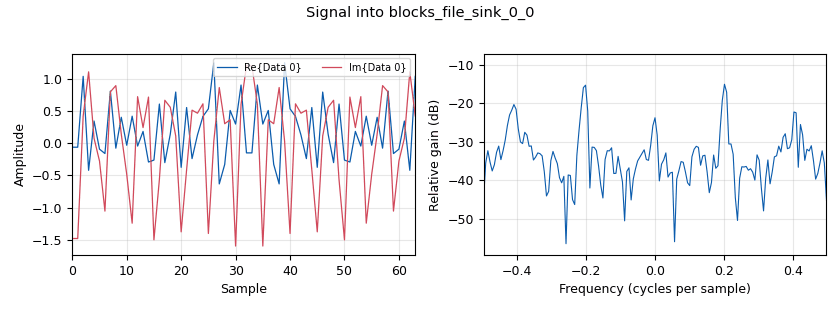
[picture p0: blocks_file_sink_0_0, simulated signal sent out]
<?xml version='1.0' encoding='utf-8'?>
<?grc format='1' created='3.7.5'?>
<flow_graph>
<block>
<key>options</key>
<param><key>id</key><value>gen_long_preamble_diff</value></param>
<param><key>generate_options</key><value>wx_gui</value></param>
<param><key>category</key><value>Custom</value></param>
</block>
<block>
<key>variable</key>
<param><key>id</key><value>long_preamble</value></param>
<param><key>value</key><value>[-1.386750+0.000000j, 0.109028-0.866216j, 0.814003-0.939633j, -0.815521-1.021791j, -0.024903-0.477258j, 0.666294+0.657124j, -1.130030+0.181954j, -1.081772+0.147029j, -0.310998+1.339165j, -0.501051+0.193514j, -0.535264-0.721431j, 0.617331-0.125335j, 0.729704-0.819683j, -1.164982-0.578905j, -0.507718-0.348783j, 0.327654-0.872824j, 0.554700+0.554700j, 1.058271+0.036349j, -0.199543-1.425866j, 0.520697+0.132587j, 0.217228+0.519482j, -1.214171+0.420505j, 0.008777+1.020689j, 0.473383-0.036178j, 0.865699+0.229764j, -0.340062+0.942288j, -1.021813+0.489738j, 0.530949+0.778415j, 0.187371-0.247493j, 0.859403-0.734848j, 0.352787+0.986549j, -0.045452+1.067910j, 1.386750+0.000000j, -0.045452-1.067910j, 0.352787-0.986549j, 0.859403+0.734848j, 0.187371+0.247493j, 0.530949-0.778415j, -1.021813-0.489738j, -0.340062-0.942288j, 0.865699-0.229764j, 0.473383+0.036178j, 0.008777-1.020689j, -1.214171-0.420505j, 0.217228-0.519482j, 0.520697-0.132587j, -0.199543+1.425866j, 1.058271-0.036349j, 0.554700-0.554700j, 0.327654+0.872824j, -0.507718+0.348783j, -1.164982+0.578905j, 0.729704+0.819683j, 0.617331+0.125335j, -0.535264+0.721431j, -0.501051-0.193514j, -0.310998-1.339165j, -1.081772-0.147029j, -1.130030-0.181954j, 0.666294-0.657124j, -0.024903+0.477258j, -0.815521+1.021791j, 0.814003+0.939633j, 0.109028+0.866216j, -1.386750+0.000000j, 0.109028-0.866216j, 0.814003-0.939633j, -0.815521-1.021791j, -0.024903-0.477258j, 0.666294+0.657124j, -1.130030+0.181954j, -1.081772+0.147029j, -0.310998+1.339165j, -0.501051+0.193514j, -0.535264-0.721431j, 0.617331-0.125335j, 0.729704-0.819683j, -1.164982-0.578905j, -0.507718-0.348783j, 0.327654-0.872824j, 0.554700+0.554700j, 1.058271+0.036349j, -0.199543-1.425866j, 0.520697+0.132587j, 0.217228+0.519482j, -1.214171+0.420505j, 0.008777+1.020689j, 0.473383-0.036178j, 0.865699+0.229764j, -0.340062+0.942288j, -1.021813+0.489738j, 0.530949+0.778415j, 0.187371-0.247493j, 0.859403-0.734848j, 0.352787+0.986549j, -0.045452+1.067910j, 1.386750+0.000000j, -0.045452-1.067910j, 0.352787-0.986549j, 0.859403+0.734848j, 0.187371+0.247493j, 0.530949-0.778415j, -1.021813-0.489738j, -0.340062-0.942288j, 0.865699-0.229764j, 0.473383+0.036178j, 0.008777-1.020689j, -1.214171-0.420505j, 0.217228-0.519482j, 0.520697-0.132587j, -0.199543+1.425866j, 1.058271-0.036349j, 0.554700-0.554700j, 0.327654+0.872824j, -0.507718+0.348783j, -1.164982+0.578905j, 0.729704+0.819683j, 0.617331+0.125335j, -0.535264+0.721431j, -0.501051-0.193514j, -0.310998-1.339165j, -1.081772-0.147029j, -1.130030-0.181954j, 0.666294-0.657124j, -0.024903+0.477258j, -0.815521+1.021791j, 0.814003+0.939633j, 0.109028+0.866216j, -1.386750+0.000000j, 0.109028-0.866216j, 0.814003-0.939633j, -0.815521-1.021791j, -0.024903-0.477258j, 0.666294+0.657124j, -1.130030+0.181954j, -1.081772+0.147029j, -0.310998+1.339165j, -0.501051+0.193514j, -0.535264-0.721431j, 0.617331-0.125335j, 0.729704-0.819683j, -1.164982-0.578905j, -0.507718-0.348783j, 0.327654-0.872824j, 0.554700+0.554700j, 1.058271+0.036349j, -0.199543-1.425866j, 0.520697+0.132587j, 0.217228+0.519482j, -1.214171+0.420505j, 0.008777+1.020689j, 0.473383-0.036178j, 0.865699+0.229764j, -0.340062+0.942288j, -1.021813+0.489738j, 0.530949+0.778415j, 0.187371-0.247493j, 0.859403-0.734848j, 0.352787+0.986549j, -0.045452+1.067910j]</value></param>
</block>
<block>
<key>variable</key>
<param><key>id</key><value>samp_rate</value></param>
<param><key>value</key><value>32000</value></param>
</block>
<block>
<key>blocks_delay</key>
<param><key>id</key><value>blocks_delay_0</value></param>
<param><key>type</key><value>complex</value></param>
<param><key>delay</key><value>1</value></param>
</block>
<block>
<key>blocks_multiply_conjugate_cc</key>
<param><key>id</key><value>blocks_multiply_conjugate_cc_0</value></param>
</block>
<block>
<key>blocks_vector_source_x</key>
<param><key>id</key><value>blocks_vector_source_x_0</value></param>
<param><key>type</key><value>complex</value></param>
<param><key>vector</key><value>long_preamble</value></param>
<param><key>repeat</key><value>False</value></param>
</block>
<block>
<key>blocks_skiphead</key>
<param><key>id</key><value>blocks_skiphead_0</value></param>
<param><key>type</key><value>complex</value></param>
<param><key>num_items</key><value>1</value></param>
</block>
<block>
<key>blocks_file_sink</key>
<param><key>id</key><value>blocks_file_sink_0_0</value></param>
<param><key>file</key><value>/home/vohuudtr/workspace/channel_hiding/gr-swifi/examples/long_preamble_diff.32fc</value></param>
<param><key>type</key><value>complex</value></param>
<param><key>unbuffered</key><value>True</value></param>
</block>
<connection><source_block_id>blocks_skiphead_0</source_block_id><sink_block_id>blocks_file_sink_0_0</sink_block_id><source_key>0</source_key><sink_key>0</sink_key></connection>
<connection><source_block_id>blocks_multiply_conjugate_cc_0</source_block_id><sink_block_id>blocks_skiphead_0</sink_block_id><source_key>0</source_key><sink_key>0</sink_key></connection>
<connection><source_block_id>blocks_delay_0</source_block_id><sink_block_id>blocks_multiply_conjugate_cc_0</sink_block_id><source_key>0</source_key><sink_key>1</sink_key></connection>
<connection><source_block_id>blocks_vector_source_x_0</source_block_id><sink_block_id>blocks_delay_0</sink_block_id><source_key>0</source_key><sink_key>0</sink_key></connection>
<connection><source_block_id>blocks_vector_source_x_0</source_block_id><sink_block_id>blocks_multiply_conjugate_cc_0</sink_block_id><source_key>0</source_key><sink_key>0</sink_key></connection>
</flow_graph>
